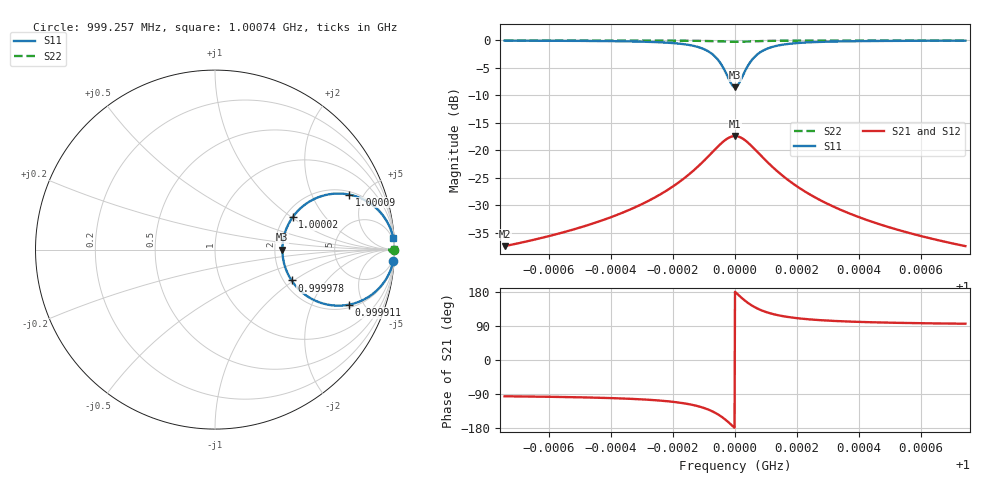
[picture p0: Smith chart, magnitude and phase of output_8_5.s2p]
! File generated for n1 = 8, n2 = 5
! b1 = 0.464159
! b2 = 0.021544
! Q0 = 10000.000000
! f0 = 1000000000.000000
! n = 1001
! rel_span = 10.000000
# Hz S RI R 50
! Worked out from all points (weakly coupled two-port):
!   1001 points, 999.257 MHz to 1.00074 GHz, reference 50 ohm
!   highest |S21| = -17.42 dB at 1 GHz (marker M1); lowest = -37.5 dB at 999.257 MHz (marker M2)
!   lowest |S11| = -8.5 dB at 1 GHz (marker M3), VSWR 2.20, Z = 110 + j0 ohm
!   |S11| at or under -10 dB: nowhere
!   |S22| runs from -0.3 to 0.0 dB; largest |S21 - S12| = 0
!   S11 on the Smith chart (normalised r, x): 999.257 MHz: 2, -32; 999.911 MHz: 2.20, -3.84; 999.978 MHz: 2.20, -0.96; 1.00002 GHz: 2.20, +1.02; 1.00009 GHz: 2.20, +3.90; 1.00074 GHz: 2, +32
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9.992571e8  0.9938 -0.0618  -0.00133 -0.0133  -0.00133 -0.0133  0.9997 -0.00287
9.995053e8  0.9862 -0.0917  -0.00297 -0.0198  -0.00297 -0.0198  0.9994 -0.00426
9.996419e8  0.9742 -0.1243  -0.00555 -0.0268  -0.00555 -0.0268  0.9988 -0.00577
9.997534e8  0.948 -0.1725  -0.0112 -0.0372  -0.0112 -0.0372  0.9976 -0.00801
9.998485e8  0.879 -0.2469  -0.0261 -0.0532  -0.0261 -0.0532  0.9944 -0.0115
9.998826e8  0.8213 -0.2824  -0.0385 -0.0608  -0.0385 -0.0608  0.9917 -0.0131
9.999109e8  0.7439 -0.3073  -0.0552 -0.0662  -0.0552 -0.0662  0.9881 -0.0143
9.99948e8  0.5807 -0.2935  -0.0903 -0.0632  -0.0903 -0.0632  0.9805 -0.0136
9.999629e8  0.5001 -0.2499  -0.1077 -0.0538  -0.1077 -0.0538  0.9768 -0.0116
9.999777e8  0.4268 -0.172  -0.1235 -0.0371  -0.1235 -0.0371  0.9734 -0.00798
9.999911e8  0.384 -0.0739  -0.1327 -0.0159  -0.1327 -0.0159  0.9714 -0.00343
1e9  0.3752 0  -0.1346 0  -0.1346 0  0.971 0
1.00001e9  0.3872 0.0858  -0.132 0.0185  -0.132 0.0185  0.9716 0.00398
1.000024e9  0.4332 0.1814  -0.1221 0.0391  -0.1221 0.0391  0.9737 0.00842
1.000052e9  0.5806 0.2935  -0.0903 0.0632  -0.0903 0.0632  0.9805 0.0136
1.000091e9  0.7489 0.3063  -0.0541 0.066  -0.0541 0.066  0.9883 0.0142
1.000119e9  0.8245 0.2808  -0.0378 0.0605  -0.0378 0.0605  0.9919 0.013
1.000153e9  0.8808 0.2455  -0.0257 0.0529  -0.0257 0.0529  0.9945 0.0114
1.000248e9  0.9486 0.1717  -0.0111 0.037  -0.0111 0.037  0.9976 0.00797
1.00036e9  0.9744 0.1238  -0.00551 0.0267  -0.00551 0.0267  0.9988 0.00575
1.000496e9  0.9863 0.0915  -0.00295 0.0197  -0.00295 0.0197  0.9994 0.00425
1.000743e9  0.9938 0.0619  -0.00133 0.0133  -0.00133 0.0133  0.9997 0.00287
